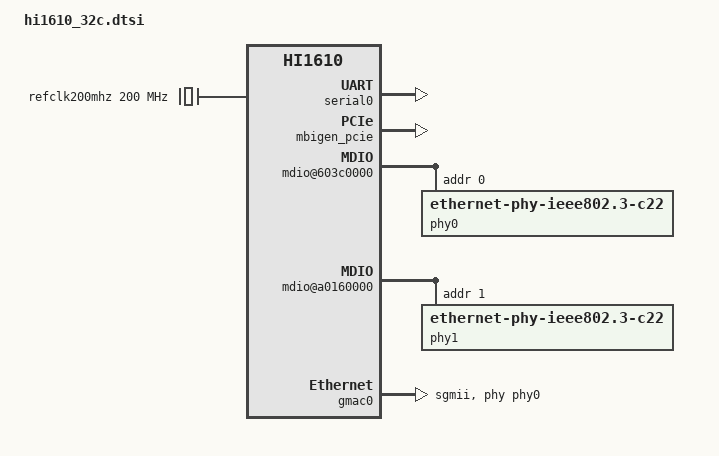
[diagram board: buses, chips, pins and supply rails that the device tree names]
/**
 * dtsi file for Hisilicon Hi1610 32core Soc
 *
 * Copyright (C) 2014,2015 Hisilicon Ltd.
 *
 * This program is free software; you can redistribute it and/or modify
 * it under the terms of the GNU General Public License version 2 as
 * publishhed by the Free Software Foundation.
 *
 */

/ {
	#address-cells = <2>;
	#size-cells = <2>;
	compatible = "hisilicon,hi1610_32c-EVB", "hisilicon,hi1610";
	interrupt-parent = <&gic>;

	cpus {
		#address-cells = <1>;
		#size-cells = <0>;

		cpu-map {
			cluster0 {
				core0 {
					cpu = <&CPU0>;
				};

				core1 {
					cpu = <&CPU1>;
				};

				core2 {
					cpu = <&CPU2>;
				};

				core3 {
					cpu = <&CPU3>;
				};
			};

			cluster1 {
				core0 {
					cpu = <&CPU4>;
				};

				core1 {
					cpu = <&CPU5>;
				};

				core2 {
					cpu = <&CPU6>;
				};

				core3 {
					cpu = <&CPU7>;
				};
			};

			cluster2 {
				core0 {
					cpu = <&CPU8>;
				};

				core1 {
					cpu = <&CPU9>;
				};

				core2 {
					cpu = <&CPU10>;
				};

				core3 {
					cpu = <&CPU11>;
				};
			};

			cluster3 {
				core0 {
					cpu = <&CPU12>;
				};

				core1 {
					cpu = <&CPU13>;
				};

				core2 {
					cpu = <&CPU14>;
				};

				core3 {
					cpu = <&CPU15>;
				};
			};

			cluster4 {
				core0 {
					cpu = <&CPU16>;
				};

				core1 {
					cpu = <&CPU17>;
				};

				core2 {
					cpu = <&CPU18>;
				};

				core3 {
					cpu = <&CPU19>;
				};
			};

			cluster5 {
				core0 {
					cpu = <&CPU20>;
				};

				core1 {
					cpu = <&CPU21>;
				};

				core2 {
					cpu = <&CPU22>;
				};

				core3 {
					cpu = <&CPU23>;
				};
			};

			cluster6 {
				core0 {
					cpu = <&CPU24>;
				};

				core1 {
					cpu = <&CPU25>;
				};

				core2 {
					cpu = <&CPU26>;
				};

				core3 {
					cpu = <&CPU27>;
				};
			};

			cluster7 {
				core0 {
					cpu = <&CPU28>;
				};

				core1 {
					cpu = <&CPU29>;
				};

				core2 {
					cpu = <&CPU30>;
				};

				core3 {
					cpu = <&CPU31>;
				};
			};
		};

		CPU0: cpu@10000 {
			device_type = "cpu";
			compatible = "arm,armv8";
			reg = <0x10000>;
			enable-method = "spin-table";
			cpu-release-addr = <0x0 0xfff8>;
		};

		CPU1: cpu@10001 {
			device_type = "cpu";
			compatible = "arm,armv8";
			reg = <0x10001>;
			enable-method = "spin-table";
			cpu-release-addr = <0x0 0xfff8>;
		};

		CPU2: cpu@10002 {
			device_type = "cpu";
			compatible = "arm,armv8";
			reg = <0x10002>;
			enable-method = "spin-table";
			cpu-release-addr = <0x0 0xfff8>;
		};

		CPU3: cpu@10003 {
			device_type = "cpu";
			compatible = "arm,armv8";
			reg = <0x10003>;
			enable-method = "spin-table";
			cpu-release-addr = <0x0 0xfff8>;
		};

		CPU4: cpu@10100 {
			device_type = "cpu";
			compatible = "arm,armv8";
			reg = <0x10100>;
			enable-method = "spin-table";
			cpu-release-addr = <0x0 0xfff8>;
		};

		CPU5: cpu@10101 {
			device_type = "cpu";
			compatible = "arm,armv8";
			reg = <0x10101>;
			enable-method = "spin-table";
			cpu-release-addr = <0x0 0xfff8>;
		};

		CPU6: cpu@10102 {
			device_type = "cpu";
			compatible = "arm,armv8";
			reg = <0x10102>;
			enable-method = "spin-table";
			cpu-release-addr = <0x0 0xfff8>;
		};

		CPU7: cpu@10103 {
			device_type = "cpu";
			compatible = "arm,armv8";
			reg = <0x10103>;
			enable-method = "spin-table";
			cpu-release-addr = <0x0 0xfff8>;
		};

		CPU8: cpu@10200 {
			device_type = "cpu";
			compatible = "arm,armv8";
			reg = <0x10200>;
			enable-method = "spin-table";
			cpu-release-addr = <0x0 0xfff8>;
		};

		CPU9: cpu@10201 {
			device_type = "cpu";
			compatible = "arm,armv8";
			reg = <0x10201>;
			enable-method = "spin-table";
			cpu-release-addr = <0x0 0xfff8>;
		};

		CPU10: cpu@10202 {
			device_type = "cpu";
			compatible = "arm,armv8";
			reg = <0x10202>;
			enable-method = "spin-table";
			cpu-release-addr = <0x0 0xfff8>;
		};

		CPU11: cpu@10203 {
			device_type = "cpu";
			compatible = "arm,armv8";
			reg = <0x10203>;
			enable-method = "spin-table";
			cpu-release-addr = <0x0 0xfff8>;
		};

		CPU12: cpu@10300 {
			device_type = "cpu";
			compatible = "arm,armv8";
			reg = <0x10300>;
			enable-method = "spin-table";
			cpu-release-addr = <0x0 0xfff8>;
		};

		CPU13: cpu@10301 {
			device_type = "cpu";
			compatible = "arm,armv8";
			reg = <0x10301>;
			enable-method = "spin-table";
			cpu-release-addr = <0x0 0xfff8>;
		};

		CPU14: cpu@10302 {
			device_type = "cpu";
			compatible = "arm,armv8";
			reg = <0x10302>;
			enable-method = "spin-table";
			cpu-release-addr = <0x0 0xfff8>;
		};

		CPU15: cpu@10303 {
			device_type = "cpu";
			compatible = "arm,armv8";
			reg = <0x10303>;
			enable-method = "spin-table";
			cpu-release-addr = <0x0 0xfff8>;
		};

		CPU16: cpu@20000 {
			device_type = "cpu";
			compatible = "arm,armv8";
			reg = <0x20000>;
			enable-method = "spin-table";
			cpu-release-addr = <0x0 0xfff8>;
		};

		CPU17: cpu@20001 {
			device_type = "cpu";
			compatible = "arm,armv8";
			reg = <0x20001>;
			enable-method = "spin-table";
			cpu-release-addr = <0x0 0xfff8>;
		};

		CPU18: cpu@20002 {
			device_type = "cpu";
			compatible = "arm,armv8";
			reg = <0x20002>;
			enable-method = "spin-table";
			cpu-release-addr = <0x0 0xfff8>;
		};

		CPU19: cpu@20003 {
			device_type = "cpu";
			compatible = "arm,armv8";
			reg = <0x20003>;
			enable-method = "spin-table";
			cpu-release-addr = <0x0 0xfff8>;
		};

		CPU20: cpu@20100 {
			device_type = "cpu";
			compatible = "arm,armv8";
			reg = <0x20100>;
			enable-method = "spin-table";
			cpu-release-addr = <0x0 0xfff8>;
		};

		CPU21: cpu@20101 {
			device_type = "cpu";
			compatible = "arm,armv8";
			reg = <0x20101>;
			enable-method = "spin-table";
			cpu-release-addr = <0x0 0xfff8>;
		};

		CPU22: cpu@20102 {
			device_type = "cpu";
			compatible = "arm,armv8";
			reg = <0x20102>;
			enable-method = "spin-table";
			cpu-release-addr = <0x0 0xfff8>;
		};

		CPU23: cpu@20103 {
			device_type = "cpu";
			compatible = "arm,armv8";
			reg = <0x20103>;
			enable-method = "spin-table";
			cpu-release-addr = <0x0 0xfff8>;
		};

		CPU24: cpu@20200 {
			device_type = "cpu";
			compatible = "arm,armv8";
			reg = <0x20200>;
			enable-method = "spin-table";
			cpu-release-addr = <0x0 0xfff8>;
		};

		CPU25: cpu@20201 {
			device_type = "cpu";
			compatible = "arm,armv8";
			reg = <0x20201>;
			enable-method = "spin-table";
			cpu-release-addr = <0x0 0xfff8>;
		};

		CPU26: cpu@20202 {
			device_type = "cpu";
			compatible = "arm,armv8";
			reg = <0x20202>;
			enable-method = "spin-table";
			cpu-release-addr = <0x0 0xfff8>;
		};

		CPU27: cpu@20203 {
			device_type = "cpu";
			compatible = "arm,armv8";
			reg = <0x20203>;
			enable-method = "spin-table";
			cpu-release-addr = <0x0 0xfff8>;
		};

		CPU28: cpu@20300 {
			device_type = "cpu";
			compatible = "arm,armv8";
			reg = <0x20300>;
			enable-method = "spin-table";
			cpu-release-addr = <0x0 0xfff8>;
		};

		CPU29: cpu@20301 {
			device_type = "cpu";
			compatible = "arm,armv8";
			reg = <0x20301>;
			enable-method = "spin-table";
			cpu-release-addr = <0x0 0xfff8>;
		};

		CPU30: cpu@20302 {
			device_type = "cpu";
			compatible = "arm,armv8";
			reg = <0x20302>;
			enable-method = "spin-table";
			cpu-release-addr = <0x0 0xfff8>;
		};

		CPU31: cpu@20303 {
			device_type = "cpu";
			compatible = "arm,armv8";
			reg = <0x20303>;
			enable-method = "spin-table";
			cpu-release-addr = <0x0 0xfff8>;
		};

	};

	gic: interrupt-controller@6d000000 {
		compatible = "hisilicon,gic-v3";
		#interrupt-cells = <3>;
		#address-cells = <2>;
		#size-cells = <2>;
		ranges;
		status-clear-fixup;
		interrupt-controller;
		#redistributor-regions = <2>;
		redistributor-stride = <0x0 0x30000>;
		reg = <0x0 0x6d000000 0x0 0x10000>,	/* GICD */
		      <0x0 0x6d100000 0x0 0x300000>,	/* GICR c*/
		      <0x0 0x4d100000 0 0x300000>,	/* GICR a */
		      <0x0 0xfe000000 0x0 0x10000>,	/* GICC */
		      <0x0 0xfe010000 0x0 0x10000>,     /* GICH */
		      <0x0 0xfe020000 0x0 0x10000>;     /* GICV */
		interrupts = <1 9 0xff04>;

		its_dsa: interrupt-controller@0xc6000000 {
			compatible = "arm,gic-v3-its";
			msi-controller;
			reg = <0x0 0xc6000000 0x0 0x1000000>;
		};
	};

	gic1: interrupt-controller@4d000000 {
		compatible = "hisilicon,gic-v3";
		#interrupt-cells = <3>;
		#address-cells = <2>;
		#size-cells = <2>;
		interrupt-controller;
		reg = <0x0 0x4d000000 0x0 0x10000>;
	};

	smmu_pcie {
		compatible = "arm,smmu-v3";
		reg = <0x0 0xa0040000 0x0 0x20000>;
		interrupt-parent  = <&mbigen_pcie>;
		interrupts = <0x40b0c 3 39 7>,
			     <0x40b0c 3 40 7>,
			     <0x40b0c 3 41 7>;
		interrupt-names = "eventq", "gerror", "priq";
		#iommu-cells = <1>;
		dma-coherent;
		smmu-cb-memtype = <0x0 0x1>,
				<0x40000 0x1>,
				<0x40040 0x1>;
	};
/*
	smmu_dsa {
		compatible = "arm,smmu-v3";
		reg = <0x0 0xc0040000 0x0 0x20000>;
		interrupt-parent  = <&mbigen_dsa>;
		interrupts = <0x40b20 3 78 6>,
			     <0x40b20 3 79 6>,
			     <0x40b20 3 80 6>;
		interrupt-names = "eventq", "gerror", "priq";
		#iommu-cells = <1>;
		dma-coherent;
		smmu-cb-memtype = <0x0 0x1>,
				<0x100 0x1>;
	};
*/

	smmu_alg {
		compatible = "arm,smmu-v3";
		reg = <0x0 0xd0040000 0x0 0x20000>;
		interrupt-parent  = <&mbigen_alg>;
		interrupts = <0x40b1b 3 29 6>,
			     <0x40b1b 3 30 6>,
			     <0x40b1b 3 31 6>;
		interrupt-names = "eventq", "gerror", "priq";
		#iommu-cells = <1>;
		dma-coherent;
		smmu-cb-memtype = <0x0 0x1>;
	};

	timer {
		compatible = "arm,armv8-timer";
		interrupts = <1 13 4>,
			     <1 14 4>,
			     <1 11 4>,
			     <1 10 4>;
	};

	pmu {
		compatible = "arm,armv8-pmuv3";
		interrupts = <1 7 4>;
	};

	soc {
		compatible = "simple-bus";
		#address-cells = <2>;
		#size-cells = <2>;
		ranges;

		refclk200mhz: refclk200mhz {
			compatible = "fixed-clock";
			#clock-cells = <0>;
			clock-frequency = <200000000>;
		};

		serial0: uart@60300000 {
			compatible = "snps,dw-apb-uart";
			reg = <0x0 0x60300000 0x0 0x10000>;
			interrupts = <0 317 4>;
			clocks = <&refclk200mhz>;
			clock-names = "apb_pclk";
			reg-shift = <2>;
		};

		mbigen_dsa: interrupt-controller@c0080000 {
			compatible = "hisilicon,mbigen-v2";
			msi-parent = <&its_dsa>;
			interrupt-controller;
			#interrupt-cells = <4>;
			reg = <0x0 0xc0080000 0x0 0x10000>;
		};

		mbigen_pcie: interrupt-controller@a0080000 {
			compatible = "hisilicon,mbigen-v2";
			msi-parent = <&its_dsa>;
			interrupt-controller;
			#interrupt-cells = <4>;
			reg = <0x0 0xa0080000 0x0 0x10000>;
		};

		mbigen_alg: interrupt-controller@d0080000 {
			compatible = "hisilicon,mbigen-v2";
			msi-parent = <&its_dsa>;
			interrupt-controller;
			#interrupt-cells = <4>;
			reg = <0x0 0xd0080000 0x0 0x10000>;
		};

		peri_c_subctrl: sub_ctrl_c@60000000 {
			compatible = "hisilicon,peri-c-subctrl", "syscon";
			reg = <0 0x60000000 0 0x10000>;
		};

		io_wrap_ctrl: wrap_ctrl@a0100000 {
			compatible = "hisilicon,io-wrap-ctrl", "syscon";
			reg = <0 0xa0100000 0 0x10000>;
		};

		mdio@603c0000 {
			compatible = "hisilicon,hns-mdio";
			reg = <0x0 0x603c0000 0x0 0x1000>;
			subctrl_vbase = <&peri_c_subctrl>;
			#address-cells = <0x1>;
			#size-cells = <0x0>;

			phy0: ethernet-phy@0 {
				compatible = "ethernet-phy-ieee802.3-c22";
				reg = <0>;
			};
		};

		mdio@a0160000 {
			compatible = "hisilicon,hns-mdio";
			reg = <0x0 0xa0160000 0x0 0x1000>;
			subctrl_vbase = <&io_wrap_ctrl>;
			#address-cells = <0x1>;
			#size-cells = <0x0>;

			phy1: ethernet-phy@1 {
				compatible = "ethernet-phy-ieee802.3-c22";
				reg = <1>;
			};
		};

		ppe: ppe@c2000000 {
			compatible = "hisilicon, hip05-ppe", "syscon";
			reg = <0 0xc2000000 0 0x1000>;
		};

		ge: ge@c2001000 {
			compatible = "hisilicon, hip05-ge", "syscon";
			reg = <0 0xc2001000 0 0x1000>;
		};

		gmac0: ethernet@c2080000 {
			compatible = "hisilicon, hip05-mac";
			#address-cells = <1>;
			#size-cells = <0>;
			reg = <0 0xc2080000 0 0x20000>,
			      <0 0xc0000000 0 0x1000>;
			interrupt-parent  = <&mbigen_dsa>;
			interrupts = <0x40b1c 9 0 6>,
				     <0x40b1c 9 1 6>;

			phy-mode = "sgmii";
			mac-address = [11 11 11 11 11 11];
			phy-handle = <&phy0>;
			ppe-handle = <&ppe 0>;
			ge-handle = <&ge 10 1>;
			dma-coherent;
		};
	};
};
